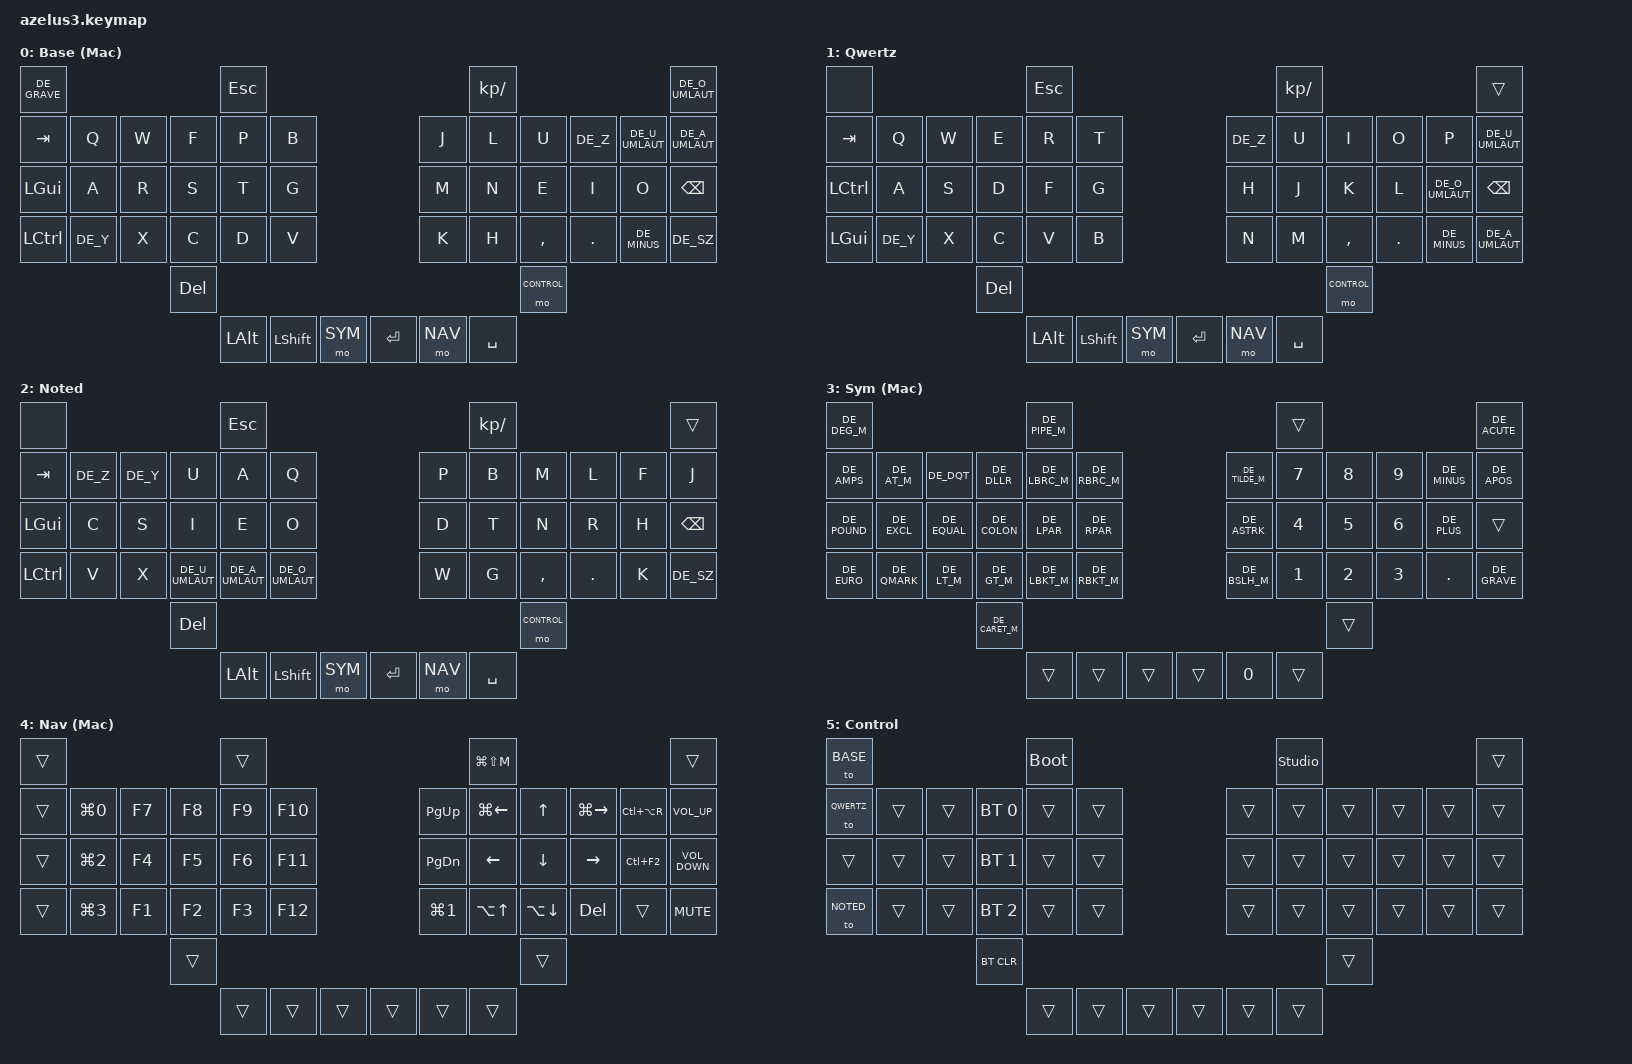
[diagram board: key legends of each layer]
#include <behaviors.dtsi>
#include <dt-bindings/zmk/bt.h>
#include <dt-bindings/zmk/keys.h>
#include "keys_de.h"

#define BASE    0
#define QWERTZ  1
#define NOTED   2
#define SYM     3
#define NAV     4
#define CONTROL 5
#define MISC    6
#define MISC2   7

#define COMBO_TIMEOUT 30  // default=50
/ {
    keymap {
        compatible = "zmk,keymap";


        base {
            bindings = <
&kp DE_GRAVE   /* ` for MacOS shortcut */            &kp ESCAPE                         &kp KP_SLASH                                       &kp DE_O_UMLAUT
&kp TAB      &kp Q       &kp W         &kp F         &kp P      &kp B          &kp J    &kp L        &kp U      &kp DE_Z   &kp DE_U_UMLAUT &kp DE_A_UMLAUT
&kp LEFT_GUI &kp A       &kp R         &kp S         &kp T      &kp G          &kp M    &kp N        &kp E      &kp I      &kp O           &kp BSPC
&kp LCTRL    &kp DE_Y    &kp X         &kp C         &kp D      &kp V          &kp K    &kp H        &kp COMMA  &kp DOT    &kp DE_MINUS    &kp DE_SZ
                         &kp DEL       &kp LEFT_ALT  &kp LSHFT  &mo SYM        &kp RET  &mo NAV      &kp SPACE  &mo CONTROL
            >;
            display-name = "Base (Mac)";
        };

        qwertz {
            bindings = <
&none                                          &kp ESCAPE                                 &kp KP_SLASH                                        &trans
&kp TAB         &kp Q    &kp W   &kp E         &kp R      &kp T                  &kp DE_Z &kp U        &kp I      &kp O      &kp P            &kp DE_U_UMLAUT
&kp LCTRL       &kp A    &kp S   &kp D         &kp F      &kp G                  &kp H    &kp J        &kp K      &kp L      &kp DE_O_UMLAUT  &kp BSPC
&kp LEFT_GUI    &kp DE_Y &kp X   &kp C         &kp V      &kp B                  &kp N    &kp M        &kp COMMA  &kp DOT    &kp DE_MINUS     &kp DE_A_UMLAUT
                         &kp DEL &kp LEFT_ALT  &kp LSHFT  &mo SYM                &kp RET  &mo NAV      &kp SPACE  &mo CONTROL
            >;
            display-name = "Qwertz";
        };

        noted {
            bindings = <                                    
&none                                                      &kp ESCAPE                                       &kp KP_SLASH                              &trans
&kp TAB         &kp DE_Z    &kp DE_Y      &kp U            &kp A            &kp Q                  &kp P    &kp B        &kp M      &kp L      &kp F  &kp J 
&kp LEFT_GUI    &kp C       &kp S         &kp I            &kp E            &kp O                  &kp D    &kp T        &kp N      &kp R      &kp H  &kp BSPC
&kp LCTRL       &kp V       &kp X         &kp DE_U_UMLAUT  &kp DE_A_UMLAUT  &kp DE_O_UMLAUT        &kp W    &kp G        &kp COMMA  &kp DOT    &kp K  &kp DE_SZ
                            &kp DEL       &kp LEFT_ALT     &kp LSHFT        &mo SYM                &kp RET  &mo NAV      &kp SPACE  &mo CONTROL    
            >;
            display-name = "Noted";
        };

        sym {
            bindings = <
&kp DE_DEG_M                                              &kp DE_PIPE_M                                      &trans                                &kp DE_ACUTE
&kp DE_AMPS  &kp DE_AT_M    &kp DE_DQT      &kp DE_DLLR   &kp DE_LBRC_M  &kp DE_RBRC_M        &kp DE_TILDE_M &kp N7  &kp N8  &kp N9  &kp DE_MINUS  &kp DE_APOS
&kp DE_POUND &kp DE_EXCL    &kp DE_EQUAL    &kp DE_COLON  &kp DE_LPAR    &kp DE_RPAR          &kp DE_ASTRK   &kp N4  &kp N5  &kp N6  &kp DE_PLUS   &trans
&kp DE_EURO  &kp DE_QMARK   &kp DE_LT_M     &kp DE_GT_M   &kp DE_LBKT_M  &kp DE_RBKT_M        &kp DE_BSLH_M  &kp N1  &kp N2  &kp N3  &kp DOT       &kp DE_GRAVE
                            &kp DE_CARET_M  &trans        &trans         &trans               &trans         &kp N0  &trans  &trans
            >;
            display-name = "Sym (Mac)";
        };

        nav {
            bindings = <
&trans                                  &trans                              &kp LG(LS(M))                                                  &trans
                                                                           //Mute Mic
&trans  &kp LG(N0)  &kp F7      &kp F8  &kp F9  &kp F10        &kp PG_UP    &kp LG(LEFT)    &kp UP        &kp LG(RIGHT)    &kp LC(LA(R))   &kp C_VOLUME_UP
        //Project                                                          //StartOfLine                 //EndOfLine      //Run
&trans  &kp LG(N2)  &kp F4      &kp F5  &kp F6  &kp F11        &kp PG_DN    &kp LEFT        &kp DOWN      &kp RIGHT        &kp LC(F2)      &kp C_VOLUME_DOWN
        //Commit                                                                                                          //NextError
&trans  &kp LG(N3)  &kp F1      &kp F2  &kp F3  &kp F12        &kp LG(N1)   &kp LA(UP)      &kp LA(DOWN)  &kp DEL          &trans          &kp C_MUTE
        //Terminal                                            //QuickFix   //ExpandSelec  //ShrinkSelec
                    &trans      &trans  &trans  &trans         &trans       &trans          &trans        &trans
            >;
            display-name = "Nav (Mac)";
        };

        control {
            bindings = <                                    
 &to BASE                                   &bootloader                           &studio_unlock                  &trans
 &to QWERTZ   &trans  &trans  &bt BT_SEL 0  &trans  &trans                &trans  &trans  &trans  &trans  &trans  &trans
 &trans       &trans  &trans  &bt BT_SEL 1  &trans  &trans                &trans  &trans  &trans  &trans  &trans  &trans
 &to NOTED    &trans  &trans  &bt BT_SEL 2  &trans  &trans                &trans  &trans  &trans  &trans  &trans  &trans
                      &bt BT_CLR    &trans  &trans  &trans                &trans  &trans  &trans  &trans
            >;
            display-name = "Control";
        };

        misc {
            status = "reserved";
            display-name = "Misc";
        };

        misc2 {
            status = "reserved";
            display-name = "Misc2";
        };
    };

    /* Helper for combos
            0               1                2               3
            4   5   6   7   8   9       10  11  12  13  14  15
            16  17  18  19  20  21      22  23  24  25  26  27
            28  29  30  31  32  33      34  35  36  37  38  39
                    40  41  42  43      44  45  46  47
    */
    combos {
        compatible = "zmk,combos";

        OE {
            bindings = <&kp DE_O_UMLAUT>;
            key-positions = <25 26>;
            layers = <BASE>;
            timeout-ms = <COMBO_TIMEOUT>;
        };

        AE {
            bindings = <&kp DE_O_UMLAUT>;
            key-positions = <25 26>;
            layers = <QWERTZ>;
            timeout-ms = <COMBO_TIMEOUT>;
        };

        MINUS_M {
            bindings = <&kp DE_MINUS>;
            key-positions = <25 26>;
            layers = <NOTED>;
            timeout-ms = <COMBO_TIMEOUT>;
        };

        PROZENT {
            bindings = <&kp DE_PRCNT>;
            key-positions = <6 7>;
            layers = <SYM>;
            timeout-ms = <COMBO_TIMEOUT>;
        };
/* Annoying when typing "git st" quickly. Deactivated.
        E_EDIT {
            bindings = <&kp E>;
            key-positions = <19 20>;
            layers = <BASE>;
            timeout-ms = <COMBO_TIMEOUT>;
        };
        */
    };

/*
    conditional_layers {
        compatible = "zmk,conditional-layers";
        sym_tri_layer {
            if-layers = <LINUX SYM>;
            then-layer = <SYM_LIN>;
        };
    };
    */

};
